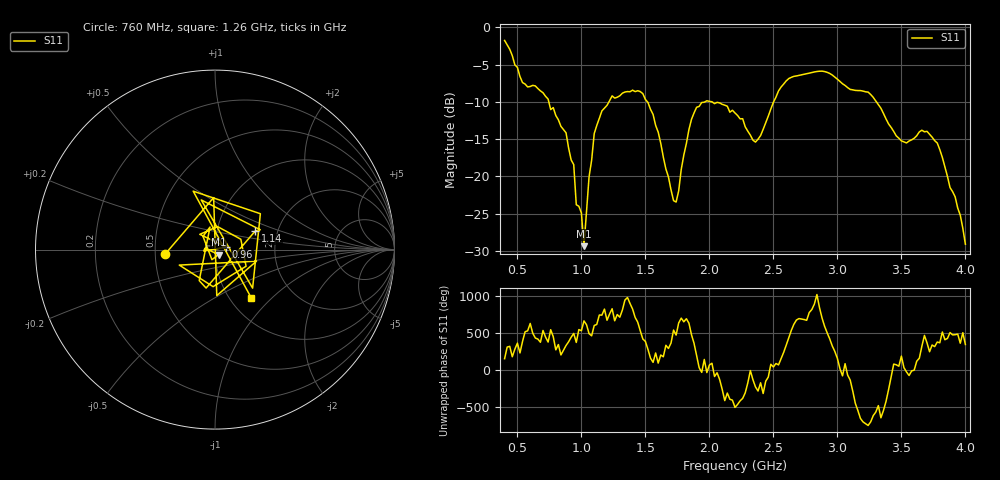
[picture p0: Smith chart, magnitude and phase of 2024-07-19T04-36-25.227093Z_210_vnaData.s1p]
!Created with skrf (http://scikit-rf.org).
# Hz S RI R 50.0
!freq ReS11 ImS11
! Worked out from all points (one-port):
!   181 points, 400 MHz to 4 GHz, reference 50 ohm
!   lowest |S11| = -29.4 dB at 1.02 GHz (marker M1), VSWR 1.07, Z = 51.9 - j2.88 ohm
!   |S11| at or under -10 dB: 745.4 MHz to 1.215 GHz (469.2 MHz wide, 47.9 % of centre); 2.022 GHz to 2.501 GHz (478.7 MHz wide, 21.2 % of centre); 3.306 GHz to end of sweep (the widest 3 of 4)
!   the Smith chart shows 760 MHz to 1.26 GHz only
!   S11 on the Smith chart (normalised r, x): 760 MHz: 0.56, -0.03; 960 MHz: 1.13, +0.03; 1.14 GHz: 1.53, +0.33; 1.26 GHz: 1.25, -0.76
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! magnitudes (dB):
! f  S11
! 400 MHz  -1.7
! 540 MHz  -7.4
! 760 MHz  -11.0
! 860 MHz  -13.7
! 940 MHz  -18.4
! 960 MHz  -23.8
! 1 GHz  -24.9
! 1.02 GHz  -29.4
! 1.06 GHz  -20.0
! 1.1 GHz  -14.3
! 1.14 GHz  -12.2
! 1.26 GHz  -9.5
! 1.3 GHz  -9.2
! 1.48 GHz  -8.9
! 1.6 GHz  -14.0
! 1.72 GHz  -23.3
! 1.76 GHz  -21.9
! 1.84 GHz  -13.7
! 1.9 GHz  -10.7
! 2.2 GHz  -11.5
! 2.36 GHz  -15.4
! 2.66 GHz  -6.6
! 2.9 GHz  -5.9
! 3.1 GHz  -8.3
! 3.24 GHz  -8.7
! 3.56 GHz  -15.2
! 3.78 GHz  -15.5
! 4 GHz  -29.1
